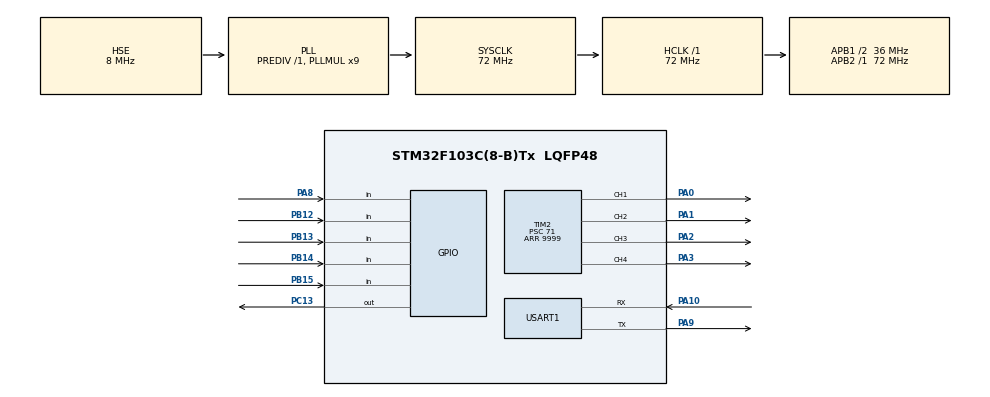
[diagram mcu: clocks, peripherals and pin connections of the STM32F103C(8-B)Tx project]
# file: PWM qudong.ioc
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FREERTOS.Tasks01=defaultTask,24,128,StartDefaultTask,Default,NULL,Dynamic,NULL,NULL
Mcu.Family=STM32F1
Mcu.Name=STM32F103C(8-B)Tx
Mcu.Package=LQFP48
NVIC.PriorityGroup=NVIC_PRIORITYGROUP_4
NVIC.TIM1_UP_IRQn=true\:15\:0\:false\:false\:true\:false\:false\:true\:true
NVIC.TimeBase=TIM1_UP_IRQn
NVIC.TimeBaseIP=TIM1
PA0-WKUP.Signal=S_TIM2_CH1_ETR
PA1.Signal=S_TIM2_CH2
PA10.Mode=Asynchronous
PA10.Signal=USART1_RX
PA13.Mode=Serial_Wire
PA13.Signal=SYS_JTMS-SWDIO
PA14.Mode=Serial_Wire
PA14.Signal=SYS_JTCK-SWCLK
PA2.Signal=S_TIM2_CH3
PA3.Signal=S_TIM2_CH4
PA8.Signal=GPIO_Input
PA9.Mode=Asynchronous
PA9.Signal=USART1_TX
PB12.Signal=GPIO_Input
PB13.Signal=GPIO_Input
PB14.Signal=GPIO_Input
PB15.Signal=GPIO_Input
PC13-TAMPER-RTC.Signal=GPIO_Output
PD0-OSC_IN.Mode=HSE-External-Oscillator
PD0-OSC_IN.Signal=RCC_OSC_IN
PD1-OSC_OUT.Mode=HSE-External-Oscillator
PD1-OSC_OUT.Signal=RCC_OSC_OUT
ProjectManager.HeapSize=0x200
ProjectManager.StackSize=0x400
ProjectManager.TargetToolchain=MDK-ARM V5.32
RCC.AHBFreq_Value=72000000
RCC.APB1CLKDivider=RCC_HCLK_DIV2
RCC.APB1Freq_Value=36000000
RCC.APB1TimFreq_Value=72000000
RCC.APB2Freq_Value=72000000
RCC.APB2TimFreq_Value=72000000
RCC.HCLKFreq_Value=72000000
RCC.PLLMUL=RCC_PLL_MUL9
RCC.PLLSourceVirtual=RCC_PLLSOURCE_HSE
RCC.SYSCLKFreq_VALUE=72000000
RCC.SYSCLKSource=RCC_SYSCLKSOURCE_PLLCLK
RCC.USBFreq_Value=72000000
SH.S_TIM2_CH1_ETR.0=TIM2_CH1,PWM Generation1 CH1
SH.S_TIM2_CH2.0=TIM2_CH2,PWM Generation2 CH2
SH.S_TIM2_CH3.0=TIM2_CH3,PWM Generation3 CH3
SH.S_TIM2_CH4.0=TIM2_CH4,PWM Generation4 CH4
TIM2.Channel-PWM\ Generation1\ CH1=TIM_CHANNEL_1
TIM2.Channel-PWM\ Generation2\ CH2=TIM_CHANNEL_2
TIM2.Channel-PWM\ Generation3\ CH3=TIM_CHANNEL_3
TIM2.Channel-PWM\ Generation4\ CH4=TIM_CHANNEL_4
TIM2.Period=9999
TIM2.Prescaler=71
USART1.VirtualMode=VM_ASYNC
VP_FREERTOS_VS_CMSIS_V2.Mode=CMSIS_V2
VP_SYS_VS_tim1.Mode=TIM1
board=custom

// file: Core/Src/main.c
/* USER CODE BEGIN Header */
/**
  ******************************************************************************
  * @file           : main.c
  * @brief          : Main program body
  ******************************************************************************
  * @attention
  *
  * Copyright (c) 2022 STMicroelectronics.
  * All rights reserved.
  *
  * This software is licensed under terms that can be found in the LICENSE file
  * in the root directory of this software component.
  * If no LICENSE file comes with this software, it is provided AS-IS.
  *
  ******************************************************************************
  */
/* USER CODE END Header */
#include "main.h"
#include "cmsis_os.h"
#include "tim.h"
#include "usart.h"
#include "gpio.h"

void SystemClock_Config(void);
void MX_FREERTOS_Init(void);

int main(void)
{

  /* MCU Configuration--------------------------------------------------------*/

  /* Reset of all peripherals, Initializes the Flash interface and the Systick. */
  HAL_Init();

  /* Configure the system clock */
  SystemClock_Config();

  /* Initialize all configured peripherals */
  MX_GPIO_Init();
  MX_TIM2_Init();
  MX_USART1_UART_Init();
  /* USER CODE BEGIN 2 */
	HAL_TIM_Base_Start(&htim2);								//在定时器3的基础上开启
	HAL_TIM_PWM_Start(&htim2,TIM_CHANNEL_1);		//开启通道1  左前
	HAL_TIM_PWM_Start(&htim2,TIM_CHANNEL_2);		//开启通道2  左后
	HAL_TIM_PWM_Start(&htim2,TIM_CHANNEL_3);		//开启通道3  右后
	HAL_TIM_PWM_Start(&htim2,TIM_CHANNEL_4);		//开启通道4  右前
    forward_ref();
//	back_ref();
//	left_ref();
//	right_ref();
//	stop_ref();
  /* USER CODE END 2 */

  /* Init scheduler */
  osKernelInitialize();  /* Call init function for freertos objects (in freertos.c) */
  MX_FREERTOS_Init();

  /* Start scheduler */
  osKernelStart();

  /* We should never get here as control is now taken by the scheduler */
  /* Infinite loop */
  while (1)
  {

  }
}

void SystemClock_Config(void)
{
  RCC_OscInitTypeDef RCC_OscInitStruct = {0};
  RCC_ClkInitTypeDef RCC_ClkInitStruct = {0};

  /** Initializes the RCC Oscillators according to the specified parameters
  * in the RCC_OscInitTypeDef structure.
  */
  RCC_OscInitStruct.OscillatorType = RCC_OSCILLATORTYPE_HSE;
  RCC_OscInitStruct.HSEState = RCC_HSE_ON;
  RCC_OscInitStruct.HSEPredivValue = RCC_HSE_PREDIV_DIV1;
  RCC_OscInitStruct.HSIState = RCC_HSI_ON;
  RCC_OscInitStruct.PLL.PLLState = RCC_PLL_ON;
  RCC_OscInitStruct.PLL.PLLSource = RCC_PLLSOURCE_HSE;
  RCC_OscInitStruct.PLL.PLLMUL = RCC_PLL_MUL9;
  if (HAL_RCC_OscConfig(&RCC_OscInitStruct) != HAL_OK)
  {
    Error_Handler();
  }

  /** Initializes the CPU, AHB and APB buses clocks
  */
  RCC_ClkInitStruct.ClockType = RCC_CLOCKTYPE_HCLK|RCC_CLOCKTYPE_SYSCLK
                              |RCC_CLOCKTYPE_PCLK1|RCC_CLOCKTYPE_PCLK2;
  RCC_ClkInitStruct.SYSCLKSource = RCC_SYSCLKSOURCE_PLLCLK;
  RCC_ClkInitStruct.AHBCLKDivider = RCC_SYSCLK_DIV1;
  RCC_ClkInitStruct.APB1CLKDivider = RCC_HCLK_DIV2;
  RCC_ClkInitStruct.APB2CLKDivider = RCC_HCLK_DIV1;

  if (HAL_RCC_ClockConfig(&RCC_ClkInitStruct, FLASH_LATENCY_2) != HAL_OK)
  {
    Error_Handler();
  }
}

/* USER CODE BEGIN 4 */
		void forward_ref()		//向前，左前右前
		{
			__HAL_TIM_SetCompare(&htim2, TIM_CHANNEL_1,1500);//左前
			__HAL_TIM_SetCompare(&htim2, TIM_CHANNEL_3,1500);
			__HAL_TIM_SetCompare(&htim2, TIM_CHANNEL_2,0);
			__HAL_TIM_SetCompare(&htim2, TIM_CHANNEL_4,0); //右前
		}
		void back_ref()			//向后，左后右后
		{
			__HAL_TIM_SetCompare(&htim2, TIM_CHANNEL_3,1500);//右后
			__HAL_TIM_SetCompare(&htim2, TIM_CHANNEL_1,0);
			__HAL_TIM_SetCompare(&htim2, TIM_CHANNEL_2,1500);//左后
			__HAL_TIM_SetCompare(&htim2, TIM_CHANNEL_4,0);
		}
		void left_ref()			//左转，左后右前
		{
			__HAL_TIM_SetCompare(&htim2, TIM_CHANNEL_4,1500);
			__HAL_TIM_SetCompare(&htim2, TIM_CHANNEL_1,0);
			__HAL_TIM_SetCompare(&htim2, TIM_CHANNEL_2,1500);
			__HAL_TIM_SetCompare(&htim2, TIM_CHANNEL_3,0);
		}
		void right_ref()		//右转，左前右后
		{
			__HAL_TIM_SetCompare(&htim2, TIM_CHANNEL_2,0);
			__HAL_TIM_SetCompare(&htim2, TIM_CHANNEL_3,1500);
			__HAL_TIM_SetCompare(&htim2, TIM_CHANNEL_1,1500);
			__HAL_TIM_SetCompare(&htim2, TIM_CHANNEL_4,0);
		}
		void stop_ref()			//占空比都为0
		{
			__HAL_TIM_SetCompare(&htim2, TIM_CHANNEL_1,0);
			__HAL_TIM_SetCompare(&htim2, TIM_CHANNEL_2,0);
			__HAL_TIM_SetCompare(&htim2, TIM_CHANNEL_3,0);
			__HAL_TIM_SetCompare(&htim2, TIM_CHANNEL_4,0);
		}
/* USER CODE END 4 */

void HAL_TIM_PeriodElapsedCallback(TIM_HandleTypeDef *htim)
{
  if (htim->Instance == TIM1) {
    HAL_IncTick();
  }
}

void Error_Handler(void)
{
  __disable_irq();
  while (1)
  {
  }
}

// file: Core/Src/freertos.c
/* USER CODE BEGIN Header */
/**
  ******************************************************************************
  * File Name          : freertos.c
  * Description        : Code for freertos applications
  ******************************************************************************
  * @attention
  *
  * Copyright (c) 2022 STMicroelectronics.
  * All rights reserved.
  *
  * This software is licensed under terms that can be found in the LICENSE file
  * in the root directory of this software component.
  * If no LICENSE file comes with this software, it is provided AS-IS.
  *
  ******************************************************************************
  */
/* USER CODE END Header */

#include "FreeRTOS.h"
#include "task.h"
#include "main.h"
#include "cmsis_os.h"

/* Definitions for defaultTask */
osThreadId_t defaultTaskHandle;
const osThreadAttr_t defaultTask_attributes = {
  .name = "defaultTask",
  .stack_size = 128 * 4,
  .priority = (osPriority_t) osPriorityNormal,
};

void StartDefaultTask(void *argument);

void MX_FREERTOS_Init(void); /* (MISRA C 2004 rule 8.1) */

void MX_FREERTOS_Init(void) {

  /* Create the thread(s) */
  /* creation of defaultTask */
  defaultTaskHandle = osThreadNew(StartDefaultTask, NULL, &defaultTask_attributes);

}

void StartDefaultTask(void *argument)
{
  /* USER CODE BEGIN StartDefaultTask */
  /* Infinite loop */
  for(;;)
  {
//直行
//		if(HAL_GPIO_ReadPin(GPIOB,GPIO_PIN_14) == 1)
//		{
//		forward_ref();
//		}
////左转
//		if(HAL_GPIO_ReadPin(GPIOB,GPIO_PIN_12) == 1)
//		{
//		leftmax_ref();
//		osDelay(10);
//		}
//		if(HAL_GPIO_ReadPin(GPIOB,GPIO_PIN_13) == 1)
//		{
//		left_ref();
//		osDelay(10);
//		}
////右转
//		if(HAL_GPIO_ReadPin(GPIOB,GPIO_PIN_15) == 1)
//		{
//		right_ref();
//  	osDelay(10);
//		}
//		if(HAL_GPIO_ReadPin(GPIOA,GPIO_PIN_8) == 1)
//		{
//		rightmax_ref();
//		osDelay(10);
//		}
//没黑线
//		if(HAL_GPIO_ReadPin(GPIOB,GPIO_PIN_15) == 0 &&HAL_GPIO_ReadPin(GPIOA,GPIO_PIN_8) == 0 &&HAL_GPIO_ReadPin(GPIOB,GPIO_PIN_14) == 0  &&HAL_GPIO_ReadPin(GPIOB,GPIO_PIN_13) == 0 &&HAL_GPIO_ReadPin(GPIOB,GPIO_PIN_12) == 0 )
//		{
//		forward_ref();
//		}
//十字路口左转
//	if(HAL_GPIO_ReadPin(GPIOB,GPIO_PIN_13)==1  && HAL_GPIO_ReadPin(GPIOB,GPIO_PIN_15) == 1)
//	{
//		leftmax_ref();
//	}
//  if(HAL_GPIO_ReadPin(GPIOB,GPIO_PIN_13)==1 &&  HAL_GPIO_ReadPin(GPIOB,GPIO_PIN_14) == 1 && HAL_GPIO_ReadPin(GPIOB,GPIO_PIN_15) == 1)
//	{
//		leftmax_ref();
//	}
//	if(HAL_GPIO_ReadPin(GPIOB,GPIO_PIN_12)==1 &&  HAL_GPIO_ReadPin(GPIOB,GPIO_PIN_13) == 1 && HAL_GPIO_ReadPin(GPIOB,GPIO_PIN_14) == 1)
//	{
//		leftmax_ref();
//	}
//	if(HAL_GPIO_ReadPin(GPIOB,GPIO_PIN_12)==1 && HAL_GPIO_ReadPin(GPIOB,GPIO_PIN_13)==1 &&  HAL_GPIO_ReadPin(GPIOB,GPIO_PIN_14) == 1 && HAL_GPIO_ReadPin(GPIOB,GPIO_PIN_15) == 1)
//	{
//		leftmax_ref();
//	}
//	if(HAL_GPIO_ReadPin(GPIOB,GPIO_PIN_12)==1 && HAL_GPIO_ReadPin(GPIOB,GPIO_PIN_13)==1 &&  HAL_GPIO_ReadPin(GPIOB,GPIO_PIN_14) == 1 && HAL_GPIO_ReadPin(GPIOB,GPIO_PIN_15) == 1 && HAL_GPIO_ReadPin(GPIOA,GPIO_PIN_8) == 1 )
//	{
//		leftmax_ref();
//	}
			osDelay(1);
  }
  /* USER CODE END StartDefaultTask */
}
